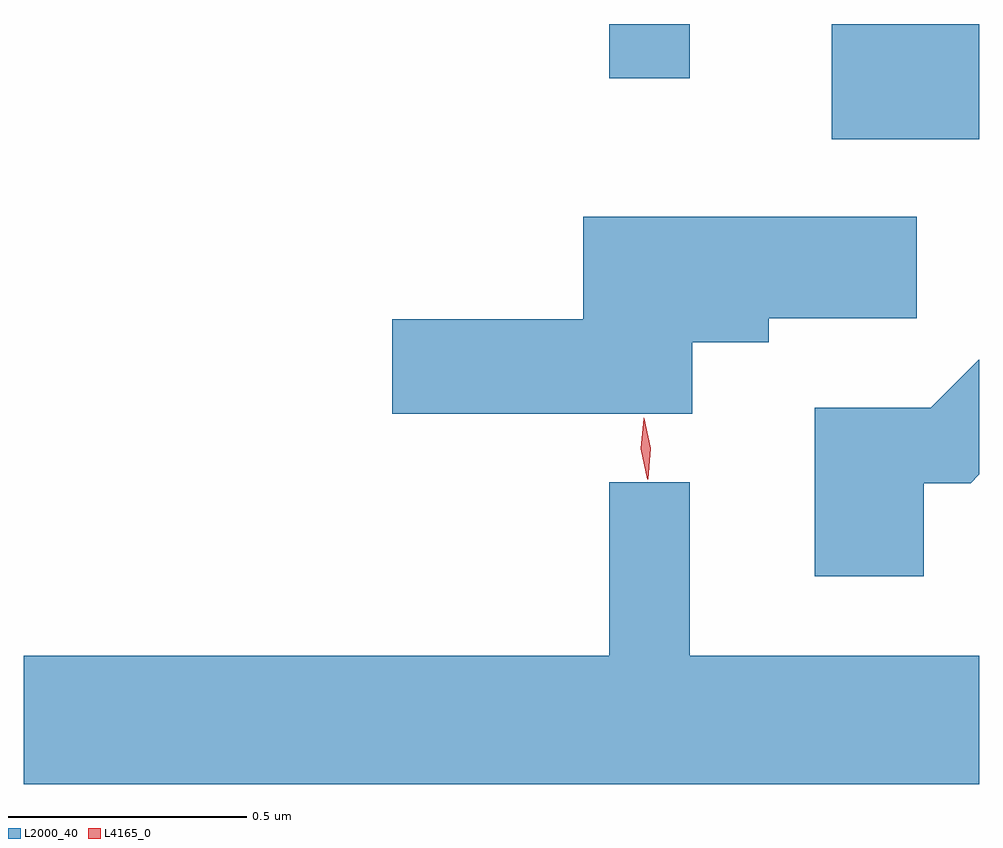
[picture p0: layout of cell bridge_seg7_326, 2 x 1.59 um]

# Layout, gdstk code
import gdstk
lib = gdstk.Library(unit=1e-6, precision=1e-09)
def R(c, l, rs):  # rectangles x0, y0, x1, y1
    for r in rs: c.add(gdstk.rectangle(r[:2], r[2:], *l))
def P(c, l, *ps):  # polygons
    for p in ps: c.add(gdstk.Polygon(p, *l))
L2000_40 = (2000, 40)
L4165_0 = (4165, 0)

bridge_seg7_326 = lib.new_cell('bridge_seg7_326')
R(bridge_seg7_326, L2000_40, [(1067.926,1757.846,1068.235,1758.087), (1067.461,1757.973,1067.629,1758.087)])
P(bridge_seg7_326, L2000_40, [(1067.634,1757.421),(1067.794,1757.421),(1067.794,1757.471),(1068.104,1757.471),(1068.104,1757.684),(1067.406,1757.684),(1067.406,1757.469),(1067.006,1757.469),(1067.006,1757.271),(1067.634,1757.271)],
  [(1068.119,1757.126),(1068.217,1757.126),(1068.235,1757.144),(1068.235,1757.384),(1068.234,1757.384),(1068.134,1757.284),(1067.891,1757.284),(1067.891,1756.931),(1068.119,1756.931)],
  [(1068.235,1756.764),(1067.629,1756.764),(1067.629,1757.128),(1067.461,1757.128),(1067.461,1756.764),(1066.235,1756.764),(1066.235,1756.496),(1068.235,1756.496)])
P(bridge_seg7_326, L4165_0, [(1067.54,1757.134),(1067.527,1757.198),(1067.533,1757.262),(1067.533,1757.263),(1067.534,1757.262),(1067.547,1757.199),(1067.542,1757.134),(1067.541,1757.134)])

lib.write_gds('bridge_seg7_326.gds')
